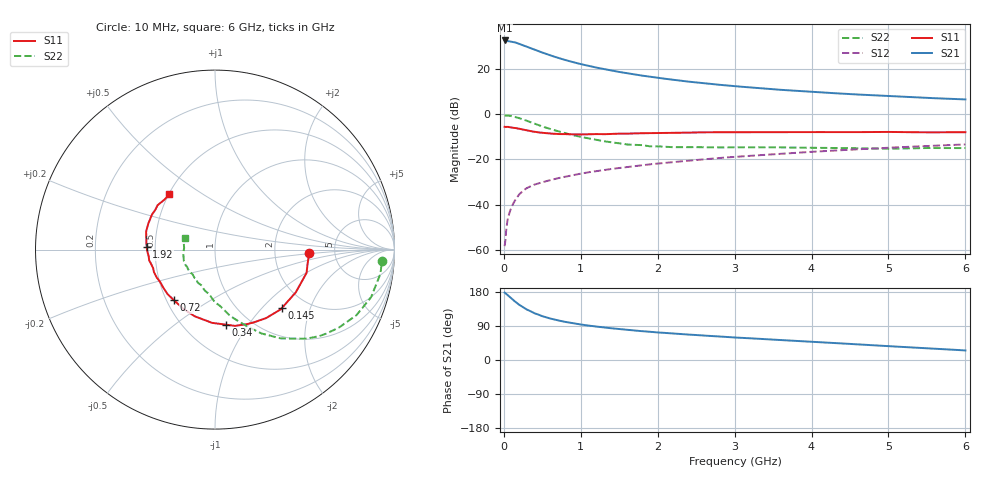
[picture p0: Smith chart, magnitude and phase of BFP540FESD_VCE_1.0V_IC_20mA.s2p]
! Infineon Technologies  Discrete & RF Semiconductors
! BFP540FESD
! VCE =  1.0 V,  IC =  20 mA
! Common Emitter S-Parameters:  Nov 2015
# GHz  S  MA  R  50
!  f  S11  S21  S12  S22
! GHz  MAG  ANG  MAG  ANG  MAG  ANG  MAG  ANG
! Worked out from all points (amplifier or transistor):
!   210 points, 10 MHz to 6 GHz, reference 50 ohm
!   highest |S21| = 32.6 dB at 10 MHz (marker M1)
!   |S21| within 3 dB of that: start of sweep to 319.8 MHz
!   unconditionally stable (mu >= 1): 1.661 GHz to end of sweep
!   at 185 MHz: K = 0.30, MSG = 33.7 dB, |S12| = -36.1 dB
!   at 1.52 GHz: K = 0.97, MSG = 21.2 dB, |S12| = -23.8 dB
!   at 6 GHz: K = 1.17, MAG = 7.5 dB, |S12| = -13.4 dB
!   S11 on the Smith chart (normalised r, x): 10 MHz: 3.20, -0.18; 145 MHz: 1.52, -1.30; 340 MHz: 0.78, -0.79; 720 MHz: 0.55, -0.35; 1.92 GHz: 0.45, +0.01; 6 GHz: 0.50, +0.37
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0.01  0.5245 -2.2  42.73 177.9  0.0012 95.5  0.932 -3.9
0.02  0.5217 -7.5  41.69 176.5  0.0016 97.0  0.933 -2.8
0.05  0.5263 -14.3  41.58 171.1  0.0047 89.0  0.9317 -8.3
0.1  0.5093 -27.8  40.24 161.9  0.0087 80.6  0.909 -17.0
0.145  0.4949 -40.8  38.75 154.4  0.0123 75.2  0.8719 -24.1
0.2  0.4763 -53.2  36.11 145.7  0.0168 71.3  0.8156 -32.2
0.24  0.4591 -62.2  34.09 140.4  0.0194 69.5  0.7749 -37.3
0.3  0.4397 -75.2  31.19 133.0  0.0232 66.2  0.7125 -44.1
0.34  0.4227 -81.7  29.31 129.4  0.025 64.8  0.6722 -47.5
0.4  0.4084 -92.3  26.73 123.2  0.0277 63.1  0.6168 -53.4
0.5  0.3885 -106.8  23.07 115.6  0.0311 61.5  0.5342 -61.0
0.6  0.3743 -118.0  20.03 109.6  0.0346 60.1  0.4697 -66.7
0.72  0.3631 -129.3  17.3 103.9  0.0388 59.1  0.4121 -72.8
0.8  0.3624 -136.8  15.73 100.4  0.0415 58.7  0.3775 -77.3
1.02  0.3558 -150.5  12.59 93.2  0.049 59.7  0.3094 -86.1
1.4  0.3644 -167.5  9.236 83.7  0.0616 58.6  0.2393 -102.4
1.92  0.3807 177.9  6.651 74.2  0.0783 57.2  0.1942 -122.9
2.02  0.3838 174.8  6.301 72.5  0.0812 56.9  0.1934 -126.6
3.1  0.3988 158.5  4.031 58.4  0.1165 51.9  0.185 -153.2
4.1  0.4011 150.0  3.045 47.0  0.1501 46.0  0.1795 -169.0
5.1  0.4022 140.8  2.471 35.4  0.1841 38.1  0.173 175.1
6  0.3989 129.6  2.119 25.2  0.214 30.7  0.1779 159.1
